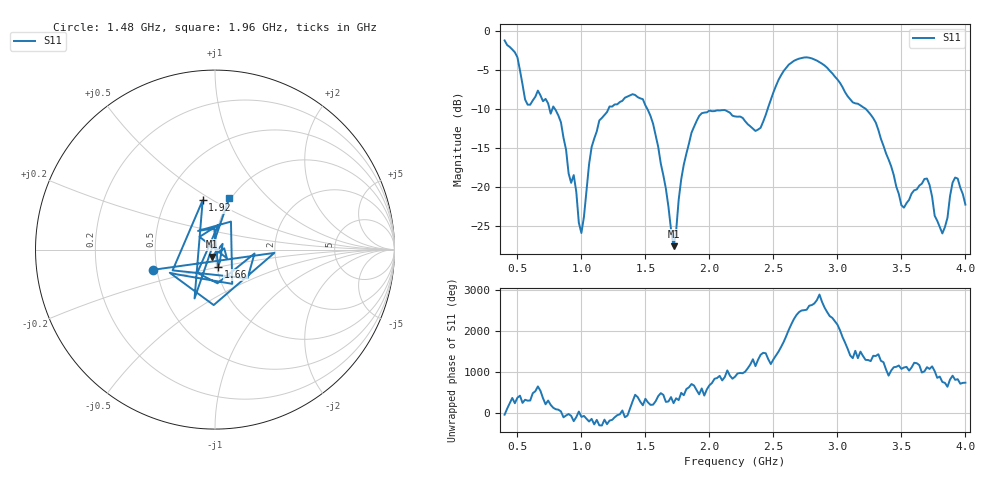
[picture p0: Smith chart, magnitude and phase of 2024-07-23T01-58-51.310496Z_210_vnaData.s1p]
!Created with skrf (http://scikit-rf.org).
# Hz S RI R 50.0
!freq ReS11 ImS11
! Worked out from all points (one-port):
!   181 points, 400 MHz to 4 GHz, reference 50 ohm
!   lowest |S11| = -27.6 dB at 1.72 GHz (marker M1), VSWR 1.09, Z = 48.4 - j3.75 ohm
!   |S11| at or under -10 dB: 790.9 MHz to 1.212 GHz (421.6 MHz wide, 42.1 % of centre); 1.513 GHz to 2.456 GHz (942.7 MHz wide, 47.5 % of centre); 3.218 GHz to end of sweep (the widest 3 of 4)
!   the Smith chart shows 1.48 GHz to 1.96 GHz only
!   S11 on the Smith chart (normalised r, x): 1.48 GHz: 0.48, -0.12; 1.66 GHz: 1.02, -0.20; 1.92 GHz: 0.76, +0.45; 1.96 GHz: 0.98, +0.62
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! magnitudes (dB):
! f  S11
! 400 MHz  -1.3
! 500 MHz  -3.4
! 580 MHz  -9.5
! 660 MHz  -7.7
! 860 MHz  -13.7
! 920 MHz  -19.5
! 940 MHz  -18.5
! 1 GHz  -26.0
! 1.08 GHz  -14.9
! 1.14 GHz  -11.5
! 1.3 GHz  -9.2
! 1.48 GHz  -8.8
! 1.66 GHz  -20.3
! 1.72 GHz  -27.6
! 1.76 GHz  -21.7
! 1.92 GHz  -11.0
! 1.96 GHz  -10.5
! 2.2 GHz  -11.0
! 2.4 GHz  -12.5
! 2.66 GHz  -3.9
! 3.1 GHz  -8.8
! 3.28 GHz  -11.2
! 3.5 GHz  -22.4
! 3.56 GHz  -21.7
! 3.7 GHz  -19.0
! 3.82 GHz  -26.0
! 3.92 GHz  -18.8
! 4 GHz  -22.3
